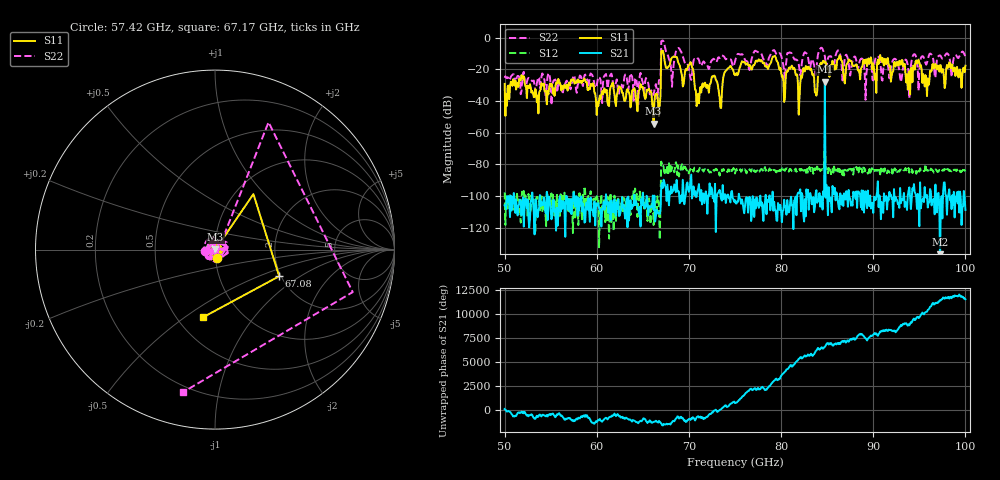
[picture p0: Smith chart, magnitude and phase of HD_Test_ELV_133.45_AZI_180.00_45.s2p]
! 11/25/2026 9:26:34 AM
! C:\ANRITSUVNA\TEMP\TEMP.S2P
! CHANNEL.1
! TR.MEASUREMENT
! RAW.DATA
# HZ S RI R 50.0
! FREQ.HZ  S11RE  S11IM  S21RE  S21IM  S12RE  S12IM  S22RE  S22IM
!; PortSelection: Port_12
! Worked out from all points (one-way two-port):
!   601 points, 50 GHz to 100 GHz, reference 50 ohm
!   highest |S21| = -27.89 dB at 84.75 GHz (marker M1); lowest = -140.0 dB at 97.25 GHz (marker M2)
!   lowest |S11| = -54.4 dB at 66.17 GHz (marker M3), VSWR 1.00, Z = 50.1 + j0.149 ohm
!   |S11| at or under -10 dB: start of sweep to 67 GHz; 67.24 GHz to end of sweep
!   |S22| runs from -42.6 to -1.8 dB; largest |S21 - S12| = 0.041
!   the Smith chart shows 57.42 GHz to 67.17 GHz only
!   S11 on the Smith chart (normalised r, x): 57.42 GHz: 1.02, -0.10; 67.08 GHz: 1.96, -0.68; 67.17 GHz: 0.67, -0.59
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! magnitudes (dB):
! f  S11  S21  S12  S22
! 50 GHz  -29.2  -105.9  -97.8  -25.4
! 57.42 GHz  -26.3  -102.1  -123.5  -25.2
! 58.42 GHz  -27.2  -109.9  -115.4  -29.0
! 60.17 GHz  -43.2  -104.7  -101.4  -24.8
! 61.67 GHz  -28.7  -108.4  -104.1  -24.5
! 66.17 GHz  -54.4  -108.9  -118.4  -35.4
! 66.67 GHz  -41.9  -111.2  -103.3  -32.2
! 67.08 GHz  -8.2  -91.8  -81.1  -1.9
! 67.17 GHz  -8.4  -95.0  -80.7  -1.8
! 70.17 GHz  -15.4  -91.0  -83.4  -25.7
! 70.92 GHz  -40.6  -96.8  -84.5  -13.3
! 75 GHz  -23.7  -102.7  -85.8  -15.0
! 79.25 GHz  -11.8  -103.7  -83.5  -7.9
! 80.25 GHz  -27.6  -109.1  -83.2  -17.6
! 83.42 GHz  -23.8  -101.9  -82.6  -13.6
! 84.75 GHz  -15.0  -27.9  -62.4  -11.8
! 91.67 GHz  -16.7  -102.8  -84.3  -20.4
! 93.75 GHz  -32.8  -99.6  -84.2  -17.2
! 94.83 GHz  -15.0  -98.8  -83.8  -20.3
! 95.83 GHz  -36.9  -99.4  -83.9  -15.9
! 97.25 GHz  -17.4  -140.0  -83.9  -11.2
! 100 GHz  -17.7  -108.9  -84.6  -12.2
